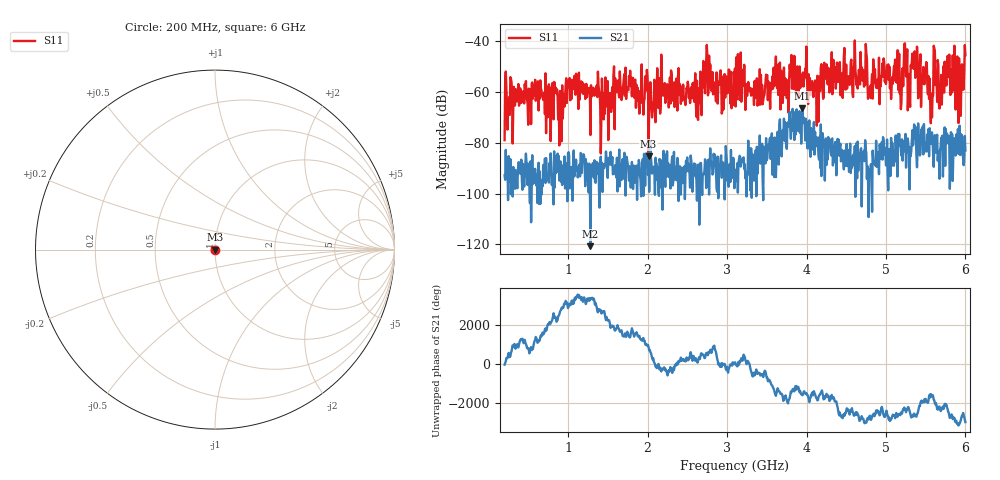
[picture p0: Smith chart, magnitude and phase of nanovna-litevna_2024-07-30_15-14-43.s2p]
! NanoVNA-App by OneOfEleven et al v1.1.209 (+OD15)
! Date: 2024-07-30 15:14:46
! Start: 200MHz Stop: 6GHz Points: 801
! S-Parameter data: F S11 S21 S12 S22
# Hz S RI R 50
!  Frequency  S11_Real  S11_Imag  S21_Real  S21_Imag  S12_Real  S12_Imag  S22_Real  S22_Imag
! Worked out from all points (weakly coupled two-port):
!   801 points, 200 MHz to 6 GHz, reference 50 ohm
!   highest |S21| = -66.48 dB at 3.948 GHz (marker M1); lowest = -120.7 dB at 1.28 GHz (marker M2)
!   lowest |S11| = -85.4 dB at 2.013 GHz (marker M3), VSWR 1.00, Z = 50 + j0.00522 ohm
!   |S11| at or under -10 dB: start of sweep to end of sweep
!   S12 and S22 are empty: the file has one direction only
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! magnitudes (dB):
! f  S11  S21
! 200 MHz  -79.0  -92.8
! 345 MHz  -61.5  -92.5
! 903.2 MHz  -59.8  -87.4
! 990.2 MHz  -58.2  -103.0
! 1.171 GHz  -57.5  -91.9
! 1.28 GHz  -77.0  -120.7
! 2.013 GHz  -85.4  -87.5
! 2.136 GHz  -66.4  -99.5
! 2.636 GHz  -71.1  -88.7
! 2.759 GHz  -61.4  -86.8
! 2.853 GHz  -60.6  -87.8
! 3.1 GHz  -50.9  -92.1
! 3.948 GHz  -53.1  -66.5
! 4.072 GHz  -55.9  -82.8
! 5.036 GHz  -55.4  -88.0
! 5.362 GHz  -44.1  -77.0
! 5.565 GHz  -72.4  -80.5
! 5.63 GHz  -54.0  -83.9
! 5.674 GHz  -66.6  -94.2
! 5.768 GHz  -48.5  -76.5
! 5.942 GHz  -69.5  -76.6
! 6 GHz  -45.6  -83.1
